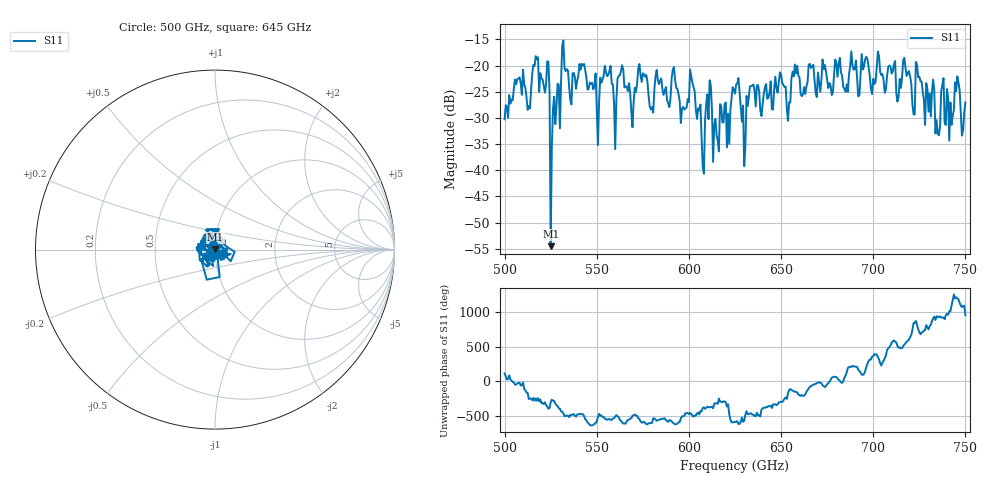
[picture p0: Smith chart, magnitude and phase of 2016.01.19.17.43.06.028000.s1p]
!Created with skrf (http://scikit-rf.org).
# GHz S RI R 50.0
!freq ReS11 ImS11
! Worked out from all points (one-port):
!   401 points, 500 GHz to 750 GHz, reference 50 ohm
!   lowest |S11| = -54.5 dB at 525 GHz (marker M1), VSWR 1.00, Z = 50.1 + j0.16 ohm
!   |S11| at or under -10 dB: start of sweep to end of sweep
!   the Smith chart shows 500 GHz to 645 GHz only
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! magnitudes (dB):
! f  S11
! 500 GHz  -30.2
! 506.9 GHz  -22.6
! 513.1 GHz  -27.7
! 516.9 GHz  -18.2
! 523.1 GHz  -19.2
! 525 GHz  -54.5
! 531.2 GHz  -16.2
! 551.2 GHz  -27.1
! 556.2 GHz  -21.8
! 559.4 GHz  -27.3
! 562.5 GHz  -21.9
! 569.4 GHz  -31.8
! 573.8 GHz  -21.8
! 579.4 GHz  -28.4
! 593.8 GHz  -24.4
! 601.9 GHz  -23.3
! 607.5 GHz  -39.3
! 610.6 GHz  -30.2
! 614.4 GHz  -30.2
! 625 GHz  -25.3
! 629.4 GHz  -27.6
! 634.4 GHz  -23.8
! 656.2 GHz  -21.2
! 687.5 GHz  -20.1
! 718.8 GHz  -21.4
! 735 GHz  -33.0
! 745.6 GHz  -22.1
! 750 GHz  -27.1
